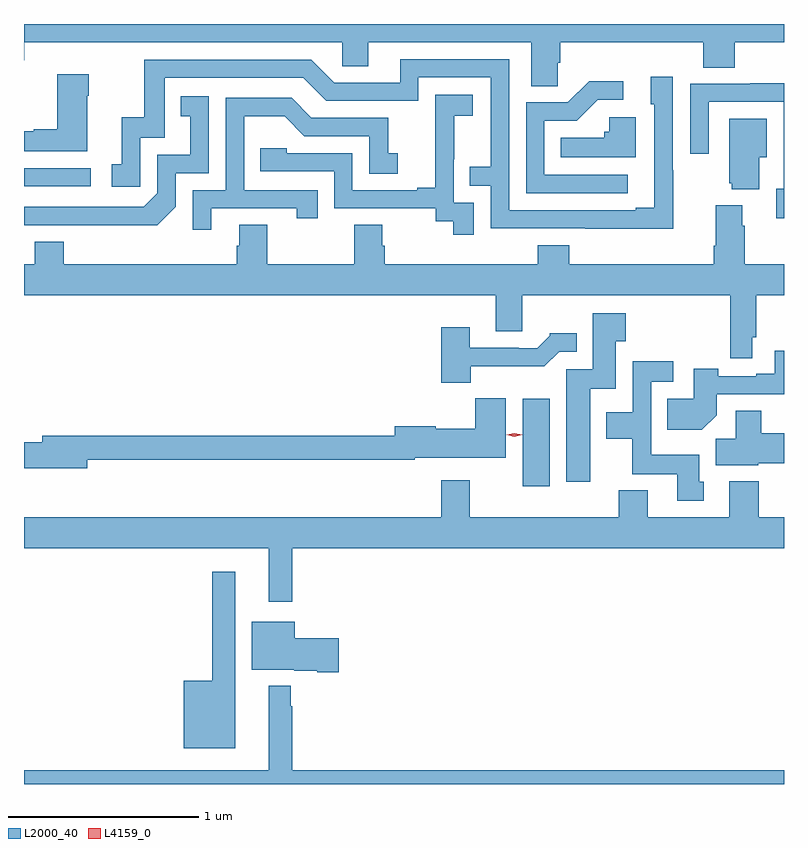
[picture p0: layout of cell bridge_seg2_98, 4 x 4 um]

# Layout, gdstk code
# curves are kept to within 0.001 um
import gdstk
lib = gdstk.Library(unit=1e-6, precision=1e-09)
def R(c, l, rs):  # rectangles x0, y0, x1, y1
    for r in rs: c.add(gdstk.rectangle(r[:2], r[2:], *l))
def P(c, l, *ps):  # polygons
    for p in ps: c.add(gdstk.Polygon(p, *l))
L2000_40 = (2000, 40)
L4159_0 = (4159, 0)

bridge_seg2_98 = lib.new_cell('bridge_seg2_98')
R(bridge_seg2_98, L2000_40, [(318.086,606.672,318.229,607.132), (315.462,608.25,315.814,608.346)])
P(bridge_seg2_98, L2000_40, [(318.27,608.899),(318.284,608.899),(318.284,609.008),(319.037,609.008),(319.037,608.875),(319.202,608.875),(319.202,609.008),(319.462,609.008),(319.462,609.104),(315.462,609.104),(315.462,608.912),(315.464,608.912),(315.464,609.008),(317.136,609.008),(317.136,608.881),(317.275,608.881),(317.275,609.008),(318.131,609.008),(318.131,608.776),(318.27,608.776)],
  [(318.879,608.333),(318.876,608.333),(318.876,608.827),(318.761,608.827),(318.761,608.682),(318.78,608.682),(318.78,608.137),(318.683,608.137),(318.683,608.124),(318.015,608.124),(318.015,608.919),(317.441,608.919),(317.441,608.796),(317.094,608.796),(316.974,608.916),(316.095,608.916),(316.095,608.614),(315.977,608.614),(315.977,608.367),(315.924,608.367),(315.924,608.247),(316.074,608.247),(316.074,608.505),(316.203,608.505),(316.203,608.82),(316.932,608.82),(317.052,608.7),(317.538,608.7),(317.538,608.823),(317.919,608.823),(317.919,608.354),(317.809,608.354),(317.809,608.253),(317.919,608.253),(317.919,608.028),(318.879,608.027)],
  [(315.796,608.726),(315.804,608.726),(315.804,608.839),(315.638,608.839),(315.638,608.549),(315.512,608.549),(315.512,608.539),(315.462,608.539),(315.462,608.435),(315.796,608.435)],
  [(318.64,608.31),(318.201,608.31),(318.201,608.595),(318.37,608.595),(318.481,608.706),(318.616,608.706),(318.616,608.804),(318.437,608.804),(318.324,608.691),(318.105,608.691),(318.105,608.214),(318.64,608.214)],
  [(319.462,608.792),(319.285,608.792),(319.285,608.79),(318.969,608.79),(318.969,608.421),(319.065,608.421),(319.065,608.694),(319.461,608.694),(319.461,608.238),(319.421,608.238),(319.421,608.082),(319.462,608.082)],
  [(317.829,608.163),(317.724,608.163),(317.724,608.393),(317.726,608.393),(317.726,608.621),(317.824,608.621),(317.824,608.731),(317.626,608.731),(317.626,608.525),(317.627,608.525),(317.627,608.242),(317.531,608.242),(317.531,608.229),(317.19,608.229),(317.19,608.424),(316.845,608.424),(316.845,608.451),(316.705,608.451),(316.705,608.328),(317.094,608.328),(317.094,608.133),(317.628,608.133),(317.628,608.065),(317.721,608.065),(317.721,607.995),(317.829,607.995)],
  [(316.26,608.142),(316.26,608.319),(316.434,608.319),(316.434,608.725),(316.288,608.725),(316.288,608.619),(316.337,608.619),(316.337,608.415),(316.164,608.415),(316.164,608.214),(316.092,608.142),(315.462,608.142),(315.462,608.046),(316.162,608.045)],
  [(316.447,608.133),(316.898,608.133),(316.898,608.082),(317.009,608.082),(317.009,608.229),(316.62,608.229),(316.62,608.618),(316.834,608.618),(316.938,608.514),(317.28,608.514),(317.28,608.316),(317.428,608.316),(317.428,608.425),(317.379,608.425),(317.379,608.61),(316.975,608.61),(316.87,608.715),(316.524,608.715),(316.524,608.229),(316.35,608.229),(316.35,608.022),(316.447,608.022)],
  [(318.682,608.614),(318.543,608.614),(318.543,608.538),(318.517,608.538),(318.517,608.506),(318.286,608.506),(318.286,608.402),(318.682,608.402)],
  [(319.333,608.402),(319.372,608.402),(319.372,608.605),(319.175,608.605),(319.175,608.265),(319.187,608.265),(319.187,608.234),(319.333,608.234)],
  [(317.945,607.486),(318.085,607.486),(318.085,607.676),(319.18,607.676),(319.18,607.344),(319.296,607.344),(319.296,607.456),(319.316,607.456),(319.316,607.676),(319.462,607.676),(319.462,607.84),(319.256,607.84),(319.256,608.042),(319.243,608.042),(319.243,608.149),(319.103,608.149),(319.103,607.936),(319.091,607.936),(319.091,607.84),(318.332,607.84),(318.332,607.939),(318.167,607.939),(318.167,607.84),(317.36,607.84),(317.36,607.938),(317.347,607.938),(317.347,608.048),(317.2,608.048),(317.2,607.84),(316.743,607.84),(316.743,608.048),(316.595,608.048),(316.595,607.938),(316.583,607.938),(316.583,607.84),(315.671,607.84),(315.671,607.957),(315.518,607.957),(315.518,607.84),(315.462,607.84),(315.462,607.676),(317.945,607.676)],
  [(318.442,607.184),(318.577,607.184),(318.577,607.435),(318.629,607.435),(318.629,607.582),(318.455,607.582),(318.455,607.287),(318.317,607.287),(318.317,606.696),(318.442,606.696)],
  [(317.812,607.302),(318.201,607.302),(318.279,607.38),(318.37,607.38),(318.37,607.477),(318.228,607.477),(318.228,607.462),(318.164,607.398),(318.065,607.398),(318.065,607.401),(317.809,607.401),(317.809,607.507),(317.657,607.507),(317.657,607.217),(317.812,607.217)],
  [(319.108,607.046),(319.108,607.155),(319.462,607.155),(319.462,607.383),(319.412,607.383),(319.412,607.264),(319.316,607.264),(319.316,607.251),(319.116,607.251),(319.116,607.29),(318.986,607.29),(318.986,607.132),(318.847,607.132),(318.847,606.968),(319.03,606.968)],
  [(319.039,606.696),(319.015,606.696),(319.015,606.838),(318.762,606.838),(318.762,607.221),(318.88,607.221),(318.88,607.33),(318.666,607.33),(318.666,607.06),(318.527,607.06),(318.527,606.92),(318.664,606.92),(318.664,606.734),(318.899,606.734),(318.899,606.594),(319.039,606.594)],
  [(315.796,606.81),(317.518,606.81),(317.518,606.821),(317.998,606.821),(317.998,607.135),(317.836,607.135),(317.836,606.973),(317.628,606.973),(317.628,606.986),(317.414,606.986),(317.414,606.938),(315.557,606.938),(315.557,606.902),(315.462,606.902),(315.462,606.767),(315.796,606.767)],
  [(319.326,606.791),(319.462,606.791),(319.462,606.949),(319.343,606.949),(319.343,607.069),(319.208,607.069),(319.208,606.92),(319.103,606.92),(319.103,606.782),(319.326,606.782)],
  [(316.873,606.344),(319.462,606.344),(319.462,606.508),(319.328,606.508),(319.328,606.697),(319.175,606.697),(319.175,606.508),(318.745,606.508),(318.745,606.649),(318.593,606.649),(318.593,606.508),(317.809,606.508),(317.809,606.703),(317.657,606.703),(317.657,606.508),(315.462,606.508),(315.462,606.344),(316.751,606.344),(316.751,606.063),(316.873,606.063)],
  [(316.573,606.22),(316.452,606.22),(316.452,605.647),(316.304,605.647),(316.304,605.291),(316.573,605.291)],
  [(317.119,605.871),(316.888,605.871),(316.888,605.959),(316.661,605.959),(316.661,605.705),(316.884,605.705),(316.884,605.699),(317.006,605.699),(317.006,605.693),(317.119,605.693)],
  [(316.873,605.513),(316.865,605.513),(316.865,605.62),(316.751,605.62),(316.751,605.176),(315.462,605.176),(315.462,605.104),(319.462,605.104),(319.462,605.176),(316.873,605.176)])
P(bridge_seg2_98, L4159_0, [(318.043,606.932),(318.002,606.942),(318.002,606.942),(318.002,606.942),(318.043,606.951),(318.084,606.941),(318.084,606.941),(318.084,606.941)])

lib.write_gds('bridge_seg2_98.gds')
